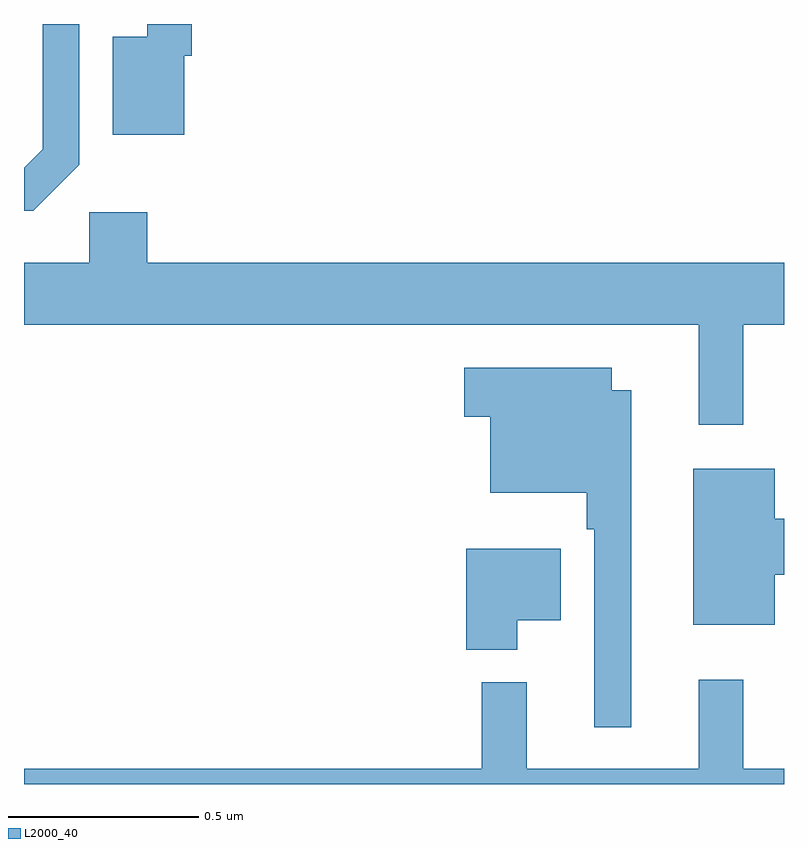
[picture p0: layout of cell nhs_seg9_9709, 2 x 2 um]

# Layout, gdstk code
import gdstk
lib = gdstk.Library(unit=1e-6, precision=1e-09)
def P(c, l, *ps):  # polygons
    for p in ps: c.add(gdstk.Polygon(p, *l))
L2000_40 = (2000, 40)

nhs_seg9_9709 = lib.new_cell('nhs_seg9_9709')
P(nhs_seg9_9709, L2000_40, [(233.422,1242.417),(233.441,1242.417),(233.441,1242.5),(233.324,1242.5),(233.324,1242.466),(233.234,1242.466),(233.234,1242.209),(233.422,1242.209)],
  [(233.145,1242.129),(233.145,1242.5),(233.049,1242.5),(233.049,1242.171),(233,1242.122),(233,1242.008),(233.024,1242.008)],
  [(234.893,1241.708),(235,1241.708),(235,1241.872),(233.324,1241.872),(233.324,1242.004),(233.172,1242.004),(233.172,1241.872),(233,1241.872),(233,1241.708),(234.775,1241.708),(234.775,1241.445),(234.893,1241.445)],
  [(234.598,1241.536),(234.547,1241.536),(234.547,1241.596),(234.159,1241.596),(234.159,1241.467),(234.227,1241.467),(234.227,1241.267),(234.481,1241.267),(234.481,1241.171),(234.501,1241.171),(234.501,1240.65),(234.598,1240.65)],
  [(234.976,1241.051),(235,1241.051),(235,1241.198),(234.976,1241.198),(234.976,1241.329),(234.761,1241.329),(234.761,1240.919),(234.976,1240.919)],
  [(234.298,1240.931),(234.412,1240.931),(234.412,1241.119),(234.164,1241.119),(234.164,1240.853),(234.298,1240.853)],
  [(235,1240.54),(234.893,1240.54),(234.893,1240.774),(234.776,1240.774),(234.776,1240.54),(234.323,1240.54),(234.323,1240.768),(234.205,1240.768),(234.205,1240.54),(233,1240.54),(233,1240.5),(235,1240.5)])

lib.write_gds('nhs_seg9_9709.gds')
